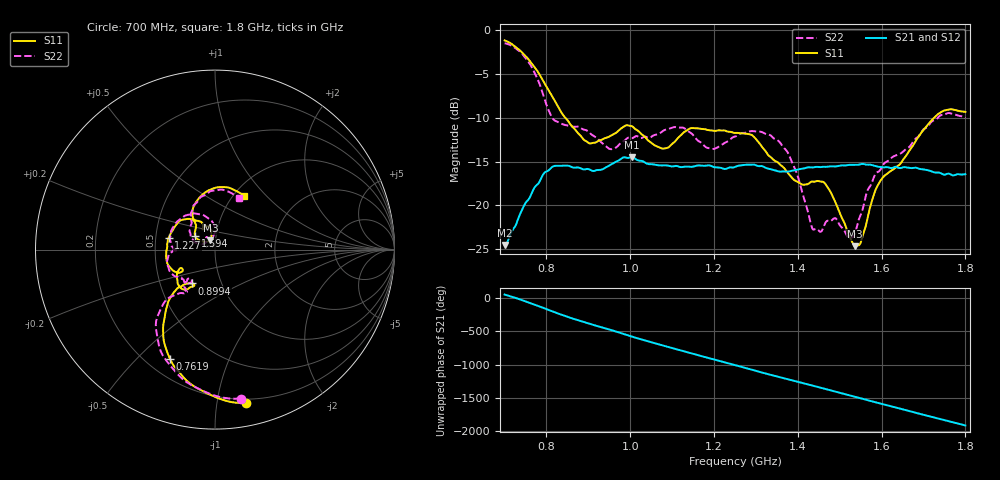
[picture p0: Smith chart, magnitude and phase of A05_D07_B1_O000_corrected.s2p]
! Created with skrf 1.9.0 (http://scikit-rf.org).
# Hz S RI R 50.0
!freq ReS11 ImS11 ReS21 ImS21 ReS12 ImS12 ReS22 ImS22
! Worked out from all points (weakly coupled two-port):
!   1601 points, 700 MHz to 1.8 GHz, reference 50 ohm
!   highest |S21| = -14.49 dB at 1.004 GHz (marker M1); lowest = -24.5 dB at 700 MHz (marker M2)
!   lowest |S11| = -24.6 dB at 1.536 GHz (marker M3), VSWR 1.12, Z = 47.3 + j5.02 ohm
!   |S11| at or under -10 dB: 845 MHz to 1.725 GHz (880.2 MHz wide, 68.5 % of centre)
!   |S22| runs from -23.8 to -1.5 dB; largest |S21 - S12| = 0.0037
!   S11 on the Smith chart (normalised r, x): 700 MHz: 0.17, -1.21; 761.9 MHz: 0.29, -0.63; 899.4 MHz: 0.72, -0.29; 1.227 GHz: 0.58, +0.08; 1.594 GHz: 0.79, +0.12; 1.8 GHz: 1.12, +0.76
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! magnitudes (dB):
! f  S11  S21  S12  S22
! 700 MHz  -1.2  -24.5  -24.3  -1.5
! 761.9 MHz  -3.6  -18.9  -18.9  -4.0
! 816.2 MHz  -7.8  -15.5  -15.6  -10.2
! 883.6 MHz  -12.2  -15.8  -15.7  -11.2
! 899.4 MHz  -12.8  -15.8  -15.9  -11.6
! 953 MHz  -12.1  -15.4  -15.4  -13.6
! 1.004 GHz  -11.0  -14.5  -14.6  -12.3
! 1.067 GHz  -13.3  -15.4  -15.4  -11.9
! 1.145 GHz  -11.2  -15.6  -15.6  -11.7
! 1.187 GHz  -11.4  -15.4  -15.5  -13.5
! 1.227 GHz  -11.5  -15.8  -15.8  -12.8
! 1.25 GHz  -11.7  -15.6  -15.5  -12.1
! 1.357 GHz  -15.3  -16.1  -16.1  -12.8
! 1.396 GHz  -17.2  -16.0  -15.9  -16.1
! 1.434 GHz  -17.3  -15.7  -15.6  -22.5
! 1.47 GHz  -17.9  -15.6  -15.6  -21.8
! 1.536 GHz  -24.6  -15.4  -15.4  -23.2
! 1.551 GHz  -24.1  -15.3  -15.3  -21.0
! 1.594 GHz  -17.5  -15.6  -15.6  -16.1
! 1.617 GHz  -16.2  -15.7  -15.6  -14.9
! 1.734 GHz  -9.6  -16.2  -16.3  -10.0
! 1.8 GHz  -9.3  -16.4  -16.4  -10.0
